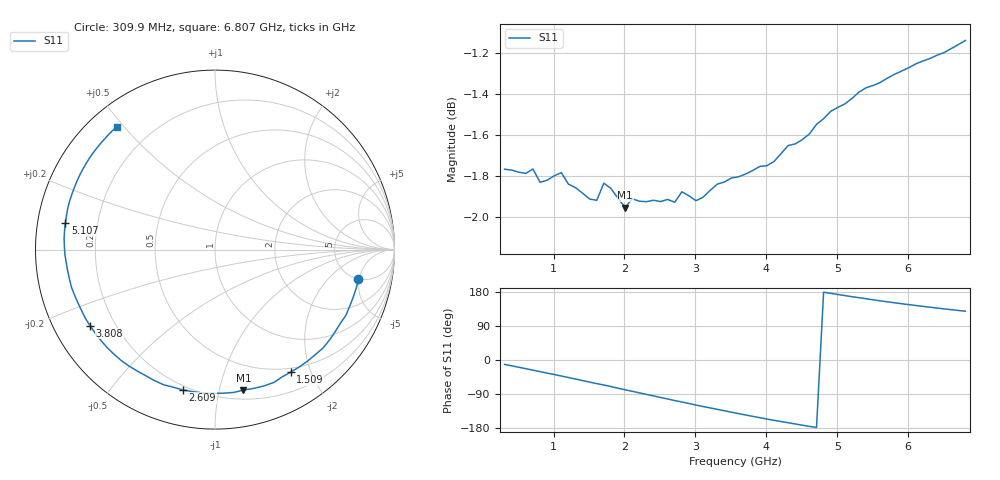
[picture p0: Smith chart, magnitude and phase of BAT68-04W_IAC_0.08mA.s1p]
! Infineon Technologies  Discrete & RF Semiconductors
! BAT68-04W
! IAC = 0.08 mA
! One-Port S-Parameters
# Hz  S  MA  R  50
!f  S11
!Hz  Mag  Ang
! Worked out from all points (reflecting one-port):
!   66 points, 309.9 MHz to 6.807 GHz, reference 50 ohm
!   lowest |S11| = -2.0 dB at 2.009 GHz (marker M1), VSWR 8.93, Z = 13.7 - j59.2 ohm
!   phase of S11 starts at -12 deg and turns -220 deg over the sweep
!   S11 on the Smith chart (normalised r, x): 309.9 MHz: 4.97, -4.88; 1.509 GHz: 0.44, -1.70; 2.609 GHz: 0.18, -0.78; 3.808 GHz: 0.11, -0.28; 5.107 GHz: 0.08, +0.09; 6.807 GHz: 0.08, +0.48
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3.0985e8  0.8159 -11.6
5.0975e8  0.8146 -19.1
7.0965e8  0.816 -26.8
1.0095e9  0.8129 -38.4
1.2094e9  0.8092 -46.2
1.50925e9  0.8024 -58.4
1.70915e9  0.8096 -66.0
1.8091e9  0.8072 -70.1
2.009e9  0.7986 -78.6
2.10895e9  0.8026 -82.6
2.30885e9  0.8013 -90.8
2.6087e9  0.8023 -102.8
2.8086e9  0.8057 -110.8
3.10845e9  0.8033 -122.8
3.30835e9  0.8092 -130.2
3.6082e9  0.8125 -141.4
3.8081e9  0.8154 -148.7
4.10795e9  0.8195 -159.2
4.4078e9  0.8276 -168.9
4.70765e9  0.8367 -178.1
4.90755e9  0.8428 175.9
5.10745e9  0.8463 169.9
5.2074e9  0.8489 167.1
5.4073e9  0.854 161.6
5.6072e9  0.8566 156.1
6.007e9  0.8637 146.2
6.4068e9  0.8697 137.1
6.8066e9  0.8769 128.7
